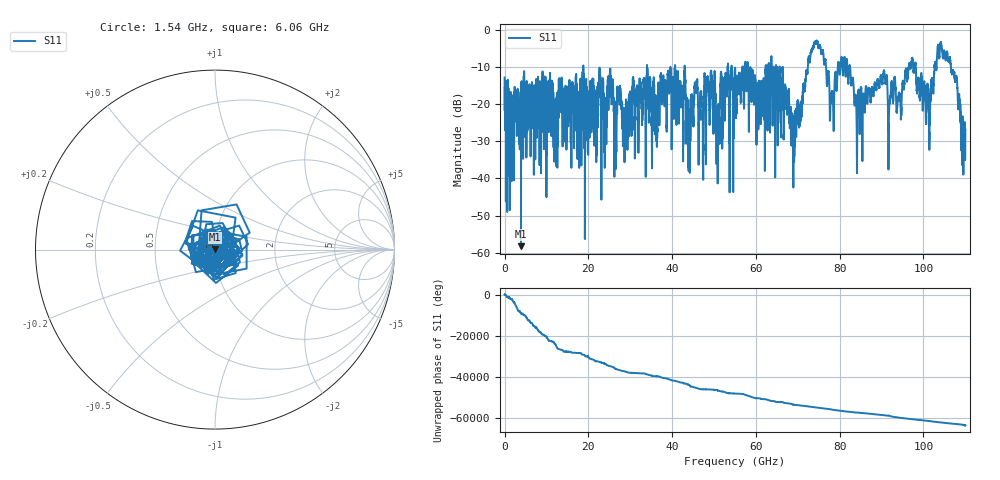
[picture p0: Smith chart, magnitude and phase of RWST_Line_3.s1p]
#  HZ  S  RI  R  50.00
! Rohde & Schwarz ZVA67 4Ports - Version 4.11 - 1305.7002k04 SN: 101032
! Date: 2026-02-18 15:33:10
! Measurement: a1d2/b1d2sam
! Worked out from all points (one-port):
!   5500 points, 20 MHz to 110 GHz, reference 50 ohm
!   lowest |S11| = -58.3 dB at 3.94 GHz (marker M1), VSWR 1.00, Z = 49.9 + j0.0782 ohm
!   |S11| at or under -10 dB: start of sweep to 18.8 GHz; 18.81 GHz to 33.98 GHz (15.17 GHz wide, 57.5 % of centre); 82.46 GHz to 96.47 GHz (14.01 GHz wide, 15.7 % of centre)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
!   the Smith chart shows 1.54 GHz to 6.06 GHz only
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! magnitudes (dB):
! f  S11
! 20 MHz  -12.8
! 3.94 GHz  -58.3
! 13.78 GHz  -17.3
! 27.52 GHz  -16.4
! 28.8 GHz  -28.1
! 34.34 GHz  -20.7
! 36.18 GHz  -21.7
! 41.28 GHz  -11.7
! 43.86 GHz  -24.8
! 45.68 GHz  -17.0
! 46.94 GHz  -16.4
! 49.72 GHz  -19.2
! 50.9 GHz  -28.1
! 53.08 GHz  -18.0
! 55.02 GHz  -12.6
! 63.96 GHz  -22.4
! 68.76 GHz  -23.3
! 74.22 GHz  -3.7
! 78.12 GHz  -17.1
! 80.06 GHz  -11.6
! 82.52 GHz  -10.6
! 84.4 GHz  -16.6
! 90.22 GHz  -14.5
! 94.18 GHz  -17.5
! 96.26 GHz  -12.2
! 101 GHz  -15.9
! 104.5 GHz  -6.4
! 110 GHz  -26.9
